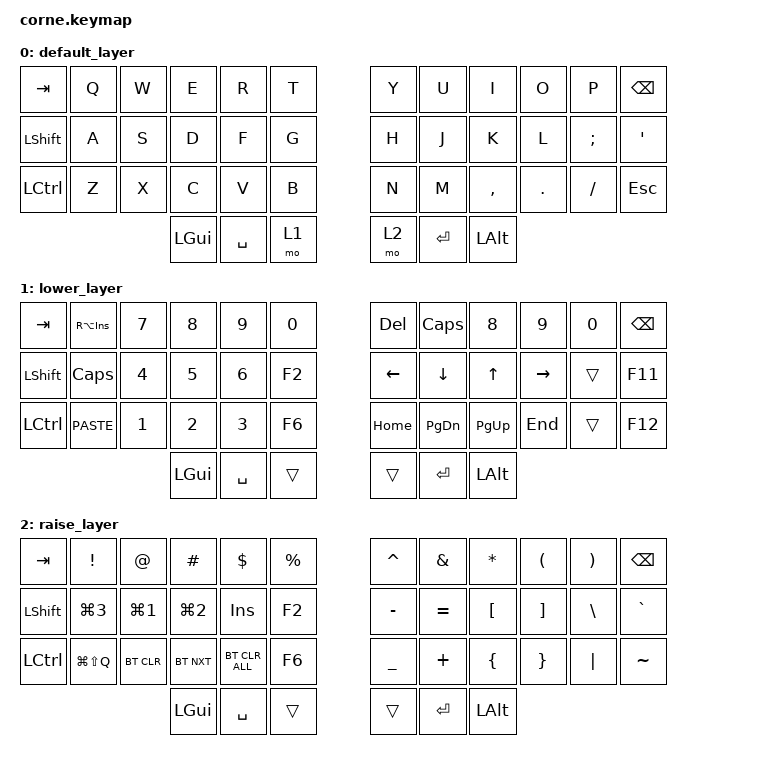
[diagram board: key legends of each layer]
/*
 * Copyright (c) 2020 The ZMK Contributors
 *
 * SPDX-License-Identifier: MIT
 */

#include <behaviors.dtsi>
#include <dt-bindings/zmk/bt.h>
#include <dt-bindings/zmk/keys.h>

/ {
    combos {
        compatible = "zmk,combos";

        combo_esc {
            timeout-ms = <50>;
            key-positions = <0 1>;
            bindings = <&kp ESC>;
        };

        delete {
            bindings = <&kp DELETE>;
            key-positions = <11 10>;
        };
    };

    behaviors {
        ss_hs_modmorph: ss_hs_modmorph {
            compatible = "zmk,behavior-mod-morph";
            label = "SS_HS_MODMORPH";
            bindings = <&kp M>, <&kp RIGHT_BRACKET>;

            #binding-cells = <0>;
            mods = <(MOD_LSFT|MOD_RSFT)>;
        };

        kh_hs_tapdance: kh_hs_tapdance {
            compatible = "zmk,behavior-tap-dance";
            label = "KH_HS_TAPDANCE";
            #binding-cells = <0>;
            tapping-term-ms = <200>;
            bindings = <&kp LEFT_BRACKET>, <&kp RIGHT_BRACKET>;
        };

        hrm: hrm {
            compatible = "zmk,behavior-hold-tap";
            #binding-cells = <2>;
            flavor = "tap-preferred";
            tapping-term-ms = <200>;
            quick-tap-ms = <200>;
            require-prior-idle-ms = <125>;
            bindings = <&kp>, <&kp>;
        };
    };

    keymap {
        compatible = "zmk,keymap";

        default_layer {
            // -----------------------------------------------------------------------------------------
            // |  TAB |  Q  |  W  |  E  |  R  |  T  |   |  Y  |  U   |  I  |  O  |  P  | BKSP |
            // | CTRL |  A  |  S  |  D  |  F  |  G  |   |  H  |  J   |  K  |  L  |  ;  |  '   |
            // | SHFT |  Z  |  X  |  C  |  V  |  B  |   |  N  |  M   |  ,  |  .  |  /  | ESC  |
            //                    | GUI | LWR | SPC |   | ENT | RSE  | ALT |

            bindings = <
&kp TAB         &kp Q  &kp W  &kp E     &kp R      &kp T    &kp Y  &kp U      &kp I         &kp O    &kp P     &kp BSPC
&kp LEFT_SHIFT  &kp A  &kp S  &kp D     &kp F      &kp G    &kp H  &kp J      &kp K         &kp L    &kp SEMI  &kp SQT
&kp LCTRL       &kp Z  &kp X  &kp C     &kp V      &kp B    &kp N  &kp M      &kp COMMA     &kp DOT  &kp FSLH  &kp ESC
                              &kp LGUI  &kp SPACE  &mo 1    &mo 2  &kp ENTER  &kp LEFT_ALT
            >;
        };

        lower_layer {
            // -----------------------------------------------------------------------------------------
            // |  TAB |  1  |  2  |  3  |  4  |  5  |   |  6  |  7  |  8  |  9  |  0  | BKSP |
            // | BTCLR| BT1 | BT2 | BT3 | BT4 | BT5 |   | LFT | DWN |  UP | RGT |     |      |
            // | SHFT |     |     |     |     |     |   |     |     |     |     |     |      |
            //                    | GUI |     | SPC |   | ENT |     | ALT |

            bindings = <
&kp TAB         &kp RA(INSERT)  &kp NUMBER_7  &kp NUMBER_8  &kp NUMBER_9  &kp NUMBER_0    &kp DELETE  &kp CLCK       &kp N8        &kp N9     &kp N0  &kp BACKSPACE
&kp LEFT_SHIFT  &kp CAPS        &kp NUMBER_4  &kp NUMBER_5  &kp NUMBER_6  &kp F2          &kp LEFT    &kp DOWN       &kp UP        &kp RIGHT  &trans  &kp F11
&kp LCTRL       &kp K_PASTE     &kp NUMBER_1  &kp NUMBER_2  &kp NUMBER_3  &kp F6          &kp HOME    &kp PAGE_DOWN  &kp PAGE_UP   &kp END    &trans  &kp F12
                                              &kp LGUI      &kp SPACE     &trans          &trans      &kp ENTER      &kp LEFT_ALT
            >;
        };

        raise_layer {
            // -----------------------------------------------------------------------------------------
            // |  TAB |  !  |  @  |  #  |  $  |  %  |   |  ^  |  &  |  *  |  (  |  )  | BKSP |
            // | CTRL |     |     |     |     |     |   |  -  |  =  |  [  |  ]  |  \  |  `   |
            // | SHFT |     |     |     |     |     |   |  _  |  +  |  {  |  }  | "|" |  ~   |
            //                    | GUI |     | SPC |   | ENT |     | ALT |

            bindings = <
&kp TAB         &kp EXCL       &kp AT      &kp HASH    &kp DLLR        &kp PRCNT    &kp CARET  &kp AMPS   &kp ASTRK     &kp LPAR  &kp RPAR  &kp BSPC
&kp LEFT_SHIFT  &kp LG(N3)     &kp LG(N1)  &kp LG(N2)  &kp INSERT      &kp F2       &kp MINUS  &kp EQUAL  &kp LBKT      &kp RBKT  &kp BSLH  &kp GRAVE
&kp LCTRL       &kp LG(LS(Q))  &bt BT_CLR  &bt BT_NXT  &bt BT_CLR_ALL  &kp F6       &kp UNDER  &kp PLUS   &kp LBRC      &kp RBRC  &kp PIPE  &kp TILDE
                                           &kp LGUI    &kp SPACE       &trans       &trans     &kp ENTER  &kp LEFT_ALT
            >;
        };
    };
};
